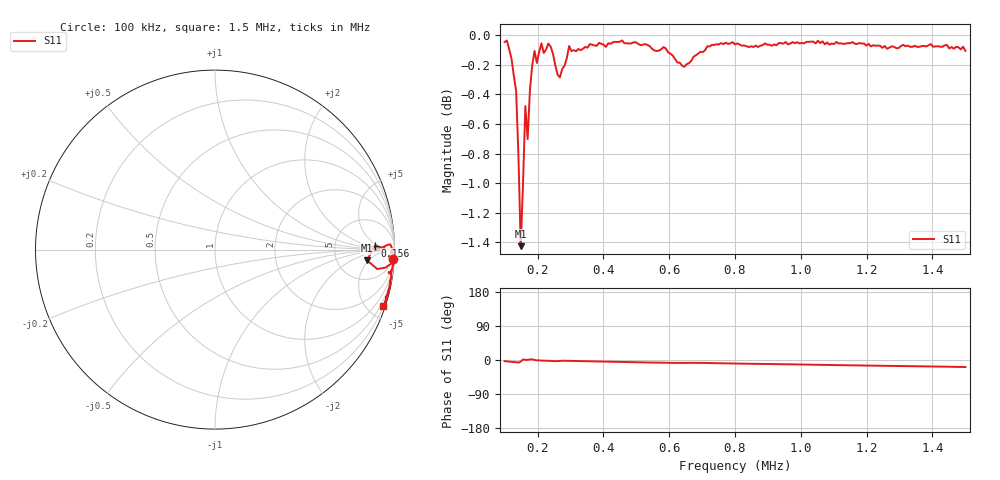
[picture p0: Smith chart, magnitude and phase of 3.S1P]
!Agilent Technologies,E5071C,MY46100305,A.07.02
!Date: Fri Jan 01 01:33:37 1988
!Data & Calibration Information:
!Freq	S11:SOLT1(ON)
# Hz S MA R 50
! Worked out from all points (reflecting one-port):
!   201 points, 100 kHz to 1.5 MHz, reference 50 ohm
!   lowest |S11| = -1.4 dB at 149 kHz (marker M1), VSWR 12.22, Z = 517 - j219 ohm
!   phase of S11 starts at -3 deg and turns -16 deg over the sweep
!   S11 on the Smith chart (normalised r, x): 100 kHz: 4, -38; 156 kHz: 17, +4; 1.5 MHz: 0.23, -6.12
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100000  0.9948 -3.0
121000  0.9818 -4.7
135000  0.9576 -6.0
142000  0.9106 -6.8
149000  0.8487 -4.0
156000  0.8914 1.4
163000  0.9464 0.3
170000  0.9224 0.4
177000  0.9586 1.5
184000  0.977 1.7
191000  0.9879 0.2
198000  0.9787 -1.0
205000  0.9872 -0.9
212000  0.9937 -1.6
233000  0.9936 -2.0
254000  0.977 -3.1
268000  0.9678 -2.5
275000  0.9742 -1.9
296000  0.9917 -2.4
450000  0.995 -5.0
583000  0.9909 -7.1
625000  0.979 -7.7
674000  0.9834 -7.3
800000  0.9929 -9.4
975000  0.9947 -11.5
1150000  0.9939 -13.9
1325000  0.992 -16.3
1500000  0.988 -18.5
